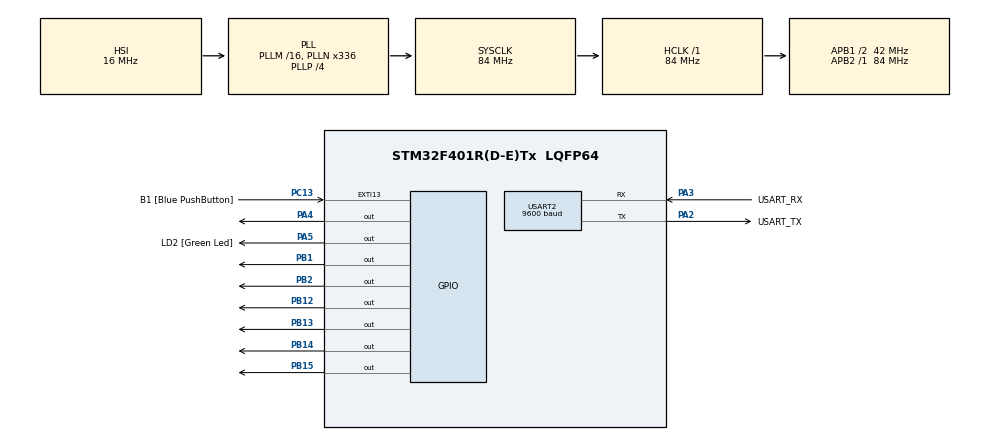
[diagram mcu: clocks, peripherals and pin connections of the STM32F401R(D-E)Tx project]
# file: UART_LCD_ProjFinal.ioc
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Mcu.Family=STM32F4
Mcu.Name=STM32F401R(D-E)Tx
Mcu.Package=LQFP64
NVIC.PriorityGroup=NVIC_PRIORITYGROUP_4
NVIC.USART2_IRQn=true\:0\:0\:false\:false\:true\:true\:true\:true
PA13.GPIO_Label=TMS
PA13.Mode=Trace_Asynchronous_SW
PA13.Signal=SYS_JTMS-SWDIO
PA14.GPIO_Label=TCK
PA14.Mode=Trace_Asynchronous_SW
PA14.Signal=SYS_JTCK-SWCLK
PA2.GPIO_Label=USART_TX
PA2.GPIO_Mode=GPIO_MODE_AF_PP
PA2.GPIO_PuPd=GPIO_NOPULL
PA2.GPIO_Speed=GPIO_SPEED_FREQ_LOW
PA2.Mode=Asynchronous
PA2.Signal=USART2_TX
PA3.GPIO_Label=USART_RX
PA3.GPIO_Mode=GPIO_MODE_AF_PP
PA3.GPIO_PuPd=GPIO_NOPULL
PA3.GPIO_Speed=GPIO_SPEED_FREQ_LOW
PA3.Mode=Asynchronous
PA3.Signal=USART2_RX
PA4.Signal=GPIO_Output
PA5.GPIO_Label=LD2 [Green Led]
PA5.GPIO_Mode=GPIO_MODE_OUTPUT_PP
PA5.GPIO_PuPd=GPIO_NOPULL
PA5.GPIO_Speed=GPIO_SPEED_FREQ_LOW
PA5.Signal=GPIO_Output
PB1.Signal=GPIO_Output
PB12.Signal=GPIO_Output
PB13.Signal=GPIO_Output
PB14.Signal=GPIO_Output
PB15.Signal=GPIO_Output
PB2.Signal=GPIO_Output
PB3.GPIO_Label=SWO
PB3.Mode=Trace_Asynchronous_SW
PB3.Signal=SYS_JTDO-SWO
PC13-ANTI_TAMP.GPIO_Label=B1 [Blue PushButton]
PC13-ANTI_TAMP.GPIO_ModeDefaultEXTI=GPIO_MODE_IT_FALLING
PC13-ANTI_TAMP.GPIO_PuPd=GPIO_NOPULL
PC13-ANTI_TAMP.Signal=GPXTI13
PC14-OSC32_IN.Mode=LSE-External-Oscillator
PC14-OSC32_IN.Signal=RCC_OSC32_IN
PC15-OSC32_OUT.Mode=LSE-External-Oscillator
PC15-OSC32_OUT.Signal=RCC_OSC32_OUT
PH0\ -\ OSC_IN.Mode=HSE-External-Clock-Source
PH0\ -\ OSC_IN.Signal=RCC_OSC_IN
PH1\ -\ OSC_OUT.Mode=HSE-External-Clock-Source
PH1\ -\ OSC_OUT.Signal=RCC_OSC_OUT
ProjectManager.HeapSize=0x200
ProjectManager.StackSize=0x400
ProjectManager.TargetToolchain=STM32CubeIDE
RCC.48MHZClocksFreq_Value=48000000
RCC.AHBFreq_Value=84000000
RCC.APB1CLKDivider=RCC_HCLK_DIV2
RCC.APB1Freq_Value=42000000
RCC.APB1TimFreq_Value=84000000
RCC.APB2Freq_Value=84000000
RCC.APB2TimFreq_Value=84000000
RCC.CortexFreq_Value=84000000
RCC.HCLKFreq_Value=84000000
RCC.HSE_VALUE=8000000
RCC.HSI_VALUE=16000000
RCC.PLLN=336
RCC.PLLP=RCC_PLLP_DIV4
RCC.PLLQ=7
RCC.SYSCLKFreq_VALUE=84000000
RCC.SYSCLKSource=RCC_SYSCLKSOURCE_PLLCLK
RCC.VCOOutputFreq_Value=336000000
USART2.BaudRate=9600
USART2.VirtualMode=VM_ASYNC
board=NUCLEO-F401RE

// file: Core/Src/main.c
/* USER CODE BEGIN Header */
/**
  ******************************************************************************
  * @file           : main.c
  * @brief          : Main program body
  ******************************************************************************
  * @attention
  *
  * Copyright (c) 2025 STMicroelectronics.
  * All rights reserved.
  *
  * This software is licensed under terms that can be found in the LICENSE file
  * in the root directory of this software component.
  * If no LICENSE file comes with this software, it is provided AS-IS.
  *
  ******************************************************************************
  */
/* USER CODE END Header */
#include "main.h"
#include <string.h>
#include "PMDB16_LCD.h"

UART_HandleTypeDef huart2;

void SystemClock_Config(void);
static void MX_GPIO_Init(void);
static void MX_USART2_UART_Init(void);

/* USER CODE BEGIN 0 */
char string[50];
char temp1[16];
char temp2[16];
int i = 0;
uint8_t rx_char;

/* USER CODE END 0 */

int main(void)
{

  /* MCU Configuration--------------------------------------------------------*/

  /* Reset of all peripherals, Initializes the Flash interface and the Systick. */
  HAL_Init();

  /* Configure the system clock */
  SystemClock_Config();

  /* Initialize all configured peripherals */
  MX_GPIO_Init();
  MX_USART2_UART_Init();
  lcd_initialize();
  lcd_backlight_ON();
  /* USER CODE BEGIN 2 */
  HAL_UART_Receive_IT(&huart2, &rx_char, 1);
  /* USER CODE END 2 */

  /* Infinite loop */
  while (1)
  {

  }
}

void SystemClock_Config(void)
{
  RCC_OscInitTypeDef RCC_OscInitStruct = {0};
  RCC_ClkInitTypeDef RCC_ClkInitStruct = {0};

  /** Configure the main internal regulator output voltage
  */
  __HAL_RCC_PWR_CLK_ENABLE();
  __HAL_PWR_VOLTAGESCALING_CONFIG(PWR_REGULATOR_VOLTAGE_SCALE2);

  /** Initializes the RCC Oscillators according to the specified parameters
  * in the RCC_OscInitTypeDef structure.
  */
  RCC_OscInitStruct.OscillatorType = RCC_OSCILLATORTYPE_HSI;
  RCC_OscInitStruct.HSIState = RCC_HSI_ON;
  RCC_OscInitStruct.HSICalibrationValue = RCC_HSICALIBRATION_DEFAULT;
  RCC_OscInitStruct.PLL.PLLState = RCC_PLL_ON;
  RCC_OscInitStruct.PLL.PLLSource = RCC_PLLSOURCE_HSI;
  RCC_OscInitStruct.PLL.PLLM = 16;
  RCC_OscInitStruct.PLL.PLLN = 336;
  RCC_OscInitStruct.PLL.PLLP = RCC_PLLP_DIV4;
  RCC_OscInitStruct.PLL.PLLQ = 7;
  if (HAL_RCC_OscConfig(&RCC_OscInitStruct) != HAL_OK)
  {
    Error_Handler();
  }

  /** Initializes the CPU, AHB and APB buses clocks
  */
  RCC_ClkInitStruct.ClockType = RCC_CLOCKTYPE_HCLK|RCC_CLOCKTYPE_SYSCLK
                              |RCC_CLOCKTYPE_PCLK1|RCC_CLOCKTYPE_PCLK2;
  RCC_ClkInitStruct.SYSCLKSource = RCC_SYSCLKSOURCE_PLLCLK;
  RCC_ClkInitStruct.AHBCLKDivider = RCC_SYSCLK_DIV1;
  RCC_ClkInitStruct.APB1CLKDivider = RCC_HCLK_DIV2;
  RCC_ClkInitStruct.APB2CLKDivider = RCC_HCLK_DIV1;

  if (HAL_RCC_ClockConfig(&RCC_ClkInitStruct, FLASH_LATENCY_2) != HAL_OK)
  {
    Error_Handler();
  }
}

static void MX_USART2_UART_Init(void)
{

  huart2.Instance = USART2;
  huart2.Init.BaudRate = 9600;
  huart2.Init.WordLength = UART_WORDLENGTH_8B;
  huart2.Init.StopBits = UART_STOPBITS_1;
  huart2.Init.Parity = UART_PARITY_NONE;
  huart2.Init.Mode = UART_MODE_TX_RX;
  huart2.Init.HwFlowCtl = UART_HWCONTROL_NONE;
  huart2.Init.OverSampling = UART_OVERSAMPLING_16;
  if (HAL_UART_Init(&huart2) != HAL_OK)
  {
    Error_Handler();
  }

}

static void MX_GPIO_Init(void)
{
  GPIO_InitTypeDef GPIO_InitStruct = {0};

  /* GPIO Ports Clock Enable */
  __HAL_RCC_GPIOC_CLK_ENABLE();
  __HAL_RCC_GPIOH_CLK_ENABLE();
  __HAL_RCC_GPIOA_CLK_ENABLE();
  __HAL_RCC_GPIOB_CLK_ENABLE();

  /*Configure GPIO pin Output Level */
  HAL_GPIO_WritePin(GPIOA, GPIO_PIN_4|LD2_Pin, GPIO_PIN_RESET);

  /*Configure GPIO pin Output Level */
  HAL_GPIO_WritePin(GPIOB, GPIO_PIN_1|GPIO_PIN_2|GPIO_PIN_12|GPIO_PIN_13
                          |GPIO_PIN_14|GPIO_PIN_15, GPIO_PIN_RESET);

  /*Configure GPIO pin : B1_Pin */
  GPIO_InitStruct.Pin = B1_Pin;
  GPIO_InitStruct.Mode = GPIO_MODE_IT_FALLING;
  GPIO_InitStruct.Pull = GPIO_NOPULL;
  HAL_GPIO_Init(B1_GPIO_Port, &GPIO_InitStruct);

  /*Configure GPIO pins : PA4 LD2_Pin */
  GPIO_InitStruct.Pin = GPIO_PIN_4|LD2_Pin;
  GPIO_InitStruct.Mode = GPIO_MODE_OUTPUT_PP;
  GPIO_InitStruct.Pull = GPIO_NOPULL;
  GPIO_InitStruct.Speed = GPIO_SPEED_FREQ_LOW;
  HAL_GPIO_Init(GPIOA, &GPIO_InitStruct);

  /*Configure GPIO pins : PB1 PB2 PB12 PB13
                           PB14 PB15 */
  GPIO_InitStruct.Pin = GPIO_PIN_1|GPIO_PIN_2|GPIO_PIN_12|GPIO_PIN_13
                          |GPIO_PIN_14|GPIO_PIN_15;
  GPIO_InitStruct.Mode = GPIO_MODE_OUTPUT_PP;
  GPIO_InitStruct.Pull = GPIO_NOPULL;
  GPIO_InitStruct.Speed = GPIO_SPEED_FREQ_LOW;
  HAL_GPIO_Init(GPIOB, &GPIO_InitStruct);

}

/* USER CODE BEGIN 4 */
void HAL_UART_RxCpltCallback(UART_HandleTypeDef *huart)
{
        if (rx_char == '#'||i==32) {
            string[i] = '\0';
            if(i>15){
            	strncpy(temp1, string, 16);
            	strncpy(temp2, string + 16, 16);
            	lcd_println(temp1, 0);
            	lcd_println(temp2, 1);
            	} else {
            		lcd_println(string, 0);
            		}
            for(int t = 0; t < i+1; t++){
            string[t] = '\0';
            }
            i = 0;
        } else if (i < sizeof(string) - 1) {
            string[i++] = rx_char;
        }

        HAL_UART_Receive_IT(&huart2, &rx_char, 1);
}
/* USER CODE END 4 */

void Error_Handler(void)
{
  __disable_irq();
  while (1)
  {
  }
}
